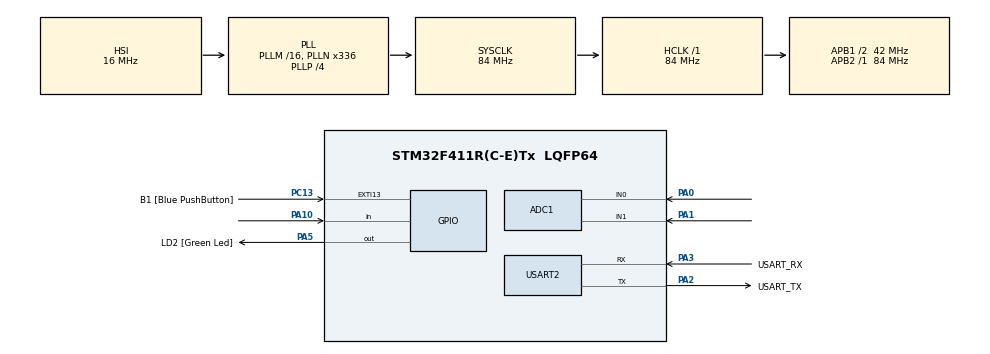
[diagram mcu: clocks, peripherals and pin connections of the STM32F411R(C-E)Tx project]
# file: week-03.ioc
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ADC1.Channel-0\#ChannelRegularConversion=ADC_CHANNEL_0
ADC1.NbrOfConversionFlag=1
ADC1.Rank-0\#ChannelRegularConversion=1
ADC1.SamplingTime-0\#ChannelRegularConversion=ADC_SAMPLETIME_3CYCLES
ADC1.master=1
Mcu.Family=STM32F4
Mcu.Name=STM32F411R(C-E)Tx
Mcu.Package=LQFP64
NVIC.PriorityGroup=NVIC_PRIORITYGROUP_0
PA0-WKUP.Signal=ADCx_IN0
PA1.Signal=ADCx_IN1
PA10.Signal=GPIO_Input
PA13.GPIO_Label=TMS
PA13.Mode=Serial_Wire
PA13.Signal=SYS_JTMS-SWDIO
PA14.GPIO_Label=TCK
PA14.Mode=Serial_Wire
PA14.Signal=SYS_JTCK-SWCLK
PA2.GPIO_Label=USART_TX
PA2.Mode=Asynchronous
PA2.Signal=USART2_TX
PA3.GPIO_Label=USART_RX
PA3.Mode=Asynchronous
PA3.Signal=USART2_RX
PA5.GPIO_Label=LD2 [Green Led]
PA5.Signal=GPIO_Output
PB3.GPIO_Label=SWO
PB3.Signal=SYS_JTDO-SWO
PC13-ANTI_TAMP.GPIO_Label=B1 [Blue PushButton]
PC13-ANTI_TAMP.GPIO_ModeDefaultEXTI=GPIO_MODE_IT_FALLING
PC13-ANTI_TAMP.Signal=GPXTI13
PC14-OSC32_IN.Mode=LSE-External-Oscillator
PC14-OSC32_IN.Signal=RCC_OSC32_IN
PC15-OSC32_OUT.Mode=LSE-External-Oscillator
PC15-OSC32_OUT.Signal=RCC_OSC32_OUT
PH0\ -\ OSC_IN.Mode=HSE-External-Clock-Source
PH0\ -\ OSC_IN.Signal=RCC_OSC_IN
PH1\ -\ OSC_OUT.Mode=HSE-External-Clock-Source
PH1\ -\ OSC_OUT.Signal=RCC_OSC_OUT
ProjectManager.HeapSize=0x200
ProjectManager.StackSize=0x400
ProjectManager.TargetToolchain=STM32CubeIDE
RCC.48MHZClocksFreq_Value=84000000
RCC.AHBFreq_Value=84000000
RCC.APB1CLKDivider=RCC_HCLK_DIV2
RCC.APB1Freq_Value=42000000
RCC.APB1TimFreq_Value=84000000
RCC.APB2Freq_Value=84000000
RCC.APB2TimFreq_Value=84000000
RCC.CortexFreq_Value=84000000
RCC.FLatency-AdvancedSettings=FLASH_LATENCY_2
RCC.HCLKFreq_Value=84000000
RCC.HSE_VALUE=8000000
RCC.HSI_VALUE=16000000
RCC.PLLN=336
RCC.PLLP=RCC_PLLP_DIV4
RCC.SYSCLKFreq_VALUE=84000000
RCC.SYSCLKSource=RCC_SYSCLKSOURCE_PLLCLK
RCC.VCOOutputFreq_Value=336000000
SH.ADCx_IN0.0=ADC1_IN0,IN0
SH.ADCx_IN1.0=ADC1_IN1,IN1
USART2.VirtualMode=VM_ASYNC
VP_ADC1_TempSens_Input.Mode=IN-TempSens
board=NUCLEO-F411RE

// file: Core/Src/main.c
/* USER CODE BEGIN Header */
/**
 ******************************************************************************
 * @file           : main.c
 * @brief          : Main program body
 ******************************************************************************
 * @attention
 *
 * <h2><center>&copy; Copyright (c) 2021 STMicroelectronics.
 * All rights reserved.</center></h2>
 *
 * This software component is licensed by ST under BSD 3-Clause license,
 * the "License"; You may not use this file except in compliance with the
 * License. You may obtain a copy of the License at:
 *                        opensource.org/licenses/BSD-3-Clause
 *
 ******************************************************************************
 */
/* USER CODE END Header */
#include "main.h"

ADC_HandleTypeDef hadc1;

UART_HandleTypeDef huart2;

/* USER CODE BEGIN PV */
uint16_t adcdata[2] = { 0 };
uint8_t ADCMode = 0;
uint32_t ADCOutputConverted = 0;
uint32_t TTimestamp = 0;
GPIO_PinState SWstate1[2];

typedef struct {
	ADC_ChannelConfTypeDef Config;
	uint16_t data;
} ADCStructure;

ADCStructure ADCChannel[2] = { 0 };

/* USER CODE END PV */

void SystemClock_Config(void);
static void MX_GPIO_Init(void);
static void MX_USART2_UART_Init(void);
static void MX_ADC1_Init(void);
/* USER CODE BEGIN PFP */
void ADCPollingMethodInit();
void ADCPollingMethodUpdate();
/* USER CODE END PFP */

int main(void) {

	/* MCU Configuration--------------------------------------------------------*/

	/* Reset of all peripherals, Initializes the Flash interface and the Systick. */
	HAL_Init();

	/* Configure the system clock */
	SystemClock_Config();

	/* Initialize all configured peripherals */
	MX_GPIO_Init();
	MX_USART2_UART_Init();
	MX_ADC1_Init();
	/* USER CODE BEGIN 2 */
	ADCPollingMethodInit();

	/* USER CODE END 2 */

	/* Infinite loop */
	/* USER CODE BEGIN WHILE */
	while (1) {
		if (HAL_GetTick() - TTimestamp >= 100) {
			TTimestamp = HAL_GetTick();
			SWstate1[0] = HAL_GPIO_ReadPin(GPIOA, GPIO_PIN_10);
			if (SWstate1[1] == GPIO_PIN_RESET && SWstate1[0] == GPIO_PIN_SET) {
					if(ADCMode == 0){
						ADCMode = 1;
					}
					else {
						ADCMode = 0;
					}
			}
			SWstate1[1] = SWstate1[0];
		}
		/* USER CODE END WHILE */

		/* USER CODE BEGIN 3 */

		ADCPollingMethodUpdate();
		if(ADCMode == 0){
			ADCOutputConverted = ADCChannel[ADCMode].data * 0.8;
		}
		else if(ADCMode == 1){
			ADCOutputConverted = ADCChannel[ADCMode].data * 0.8;
			ADCOutputConverted = (ADCOutputConverted - 760) / 2.5;
			ADCOutputConverted += 25;
		}

	}
	/* USER CODE END 3 */
}

void SystemClock_Config(void) {
	RCC_OscInitTypeDef RCC_OscInitStruct = { 0 };
	RCC_ClkInitTypeDef RCC_ClkInitStruct = { 0 };

	/** Configure the main internal regulator output voltage
	 */
	__HAL_RCC_PWR_CLK_ENABLE();
	__HAL_PWR_VOLTAGESCALING_CONFIG(PWR_REGULATOR_VOLTAGE_SCALE1);
	/** Initializes the RCC Oscillators according to the specified parameters
	 * in the RCC_OscInitTypeDef structure.
	 */
	RCC_OscInitStruct.OscillatorType = RCC_OSCILLATORTYPE_HSI;
	RCC_OscInitStruct.HSIState = RCC_HSI_ON;
	RCC_OscInitStruct.HSICalibrationValue = RCC_HSICALIBRATION_DEFAULT;
	RCC_OscInitStruct.PLL.PLLState = RCC_PLL_ON;
	RCC_OscInitStruct.PLL.PLLSource = RCC_PLLSOURCE_HSI;
	RCC_OscInitStruct.PLL.PLLM = 16;
	RCC_OscInitStruct.PLL.PLLN = 336;
	RCC_OscInitStruct.PLL.PLLP = RCC_PLLP_DIV4;
	RCC_OscInitStruct.PLL.PLLQ = 4;
	if (HAL_RCC_OscConfig(&RCC_OscInitStruct) != HAL_OK) {
		Error_Handler();
	}
	/** Initializes the CPU, AHB and APB buses clocks
	 */
	RCC_ClkInitStruct.ClockType = RCC_CLOCKTYPE_HCLK | RCC_CLOCKTYPE_SYSCLK
			| RCC_CLOCKTYPE_PCLK1 | RCC_CLOCKTYPE_PCLK2;
	RCC_ClkInitStruct.SYSCLKSource = RCC_SYSCLKSOURCE_PLLCLK;
	RCC_ClkInitStruct.AHBCLKDivider = RCC_SYSCLK_DIV1;
	RCC_ClkInitStruct.APB1CLKDivider = RCC_HCLK_DIV2;
	RCC_ClkInitStruct.APB2CLKDivider = RCC_HCLK_DIV1;

	if (HAL_RCC_ClockConfig(&RCC_ClkInitStruct, FLASH_LATENCY_2) != HAL_OK) {
		Error_Handler();
	}
}

static void MX_ADC1_Init(void) {

	ADC_ChannelConfTypeDef sConfig = { 0 };

	/** Configure the global features of the ADC (Clock, Resolution, Data Alignment and number of conversion)
	 */
	hadc1.Instance = ADC1;
	hadc1.Init.ClockPrescaler = ADC_CLOCK_SYNC_PCLK_DIV4;
	hadc1.Init.Resolution = ADC_RESOLUTION_12B;
	hadc1.Init.ScanConvMode = DISABLE;
	hadc1.Init.ContinuousConvMode = DISABLE;
	hadc1.Init.DiscontinuousConvMode = DISABLE;
	hadc1.Init.ExternalTrigConvEdge = ADC_EXTERNALTRIGCONVEDGE_NONE;
	hadc1.Init.ExternalTrigConv = ADC_SOFTWARE_START;
	hadc1.Init.DataAlign = ADC_DATAALIGN_RIGHT;
	hadc1.Init.NbrOfConversion = 1;
	hadc1.Init.DMAContinuousRequests = DISABLE;
	hadc1.Init.EOCSelection = ADC_EOC_SINGLE_CONV;
	if (HAL_ADC_Init(&hadc1) != HAL_OK) {
		Error_Handler();
	}
	/** Configure for the selected ADC regular channel its corresponding rank in the sequencer and its sample time.
	 */
	sConfig.Channel = ADC_CHANNEL_0;
	sConfig.Rank = 1;
	sConfig.SamplingTime = ADC_SAMPLETIME_3CYCLES;
	if (HAL_ADC_ConfigChannel(&hadc1, &sConfig) != HAL_OK) {
		Error_Handler();
	}

}

static void MX_USART2_UART_Init(void) {

	huart2.Instance = USART2;
	huart2.Init.BaudRate = 115200;
	huart2.Init.WordLength = UART_WORDLENGTH_8B;
	huart2.Init.StopBits = UART_STOPBITS_1;
	huart2.Init.Parity = UART_PARITY_NONE;
	huart2.Init.Mode = UART_MODE_TX_RX;
	huart2.Init.HwFlowCtl = UART_HWCONTROL_NONE;
	huart2.Init.OverSampling = UART_OVERSAMPLING_16;
	if (HAL_UART_Init(&huart2) != HAL_OK) {
		Error_Handler();
	}

}

static void MX_GPIO_Init(void) {
	GPIO_InitTypeDef GPIO_InitStruct = { 0 };

	/* GPIO Ports Clock Enable */
	__HAL_RCC_GPIOC_CLK_ENABLE();
	__HAL_RCC_GPIOH_CLK_ENABLE();
	__HAL_RCC_GPIOA_CLK_ENABLE();
	__HAL_RCC_GPIOB_CLK_ENABLE();

	/*Configure GPIO pin Output Level */
	HAL_GPIO_WritePin(LD2_GPIO_Port, LD2_Pin, GPIO_PIN_RESET);

	/*Configure GPIO pin : B1_Pin */
	GPIO_InitStruct.Pin = B1_Pin;
	GPIO_InitStruct.Mode = GPIO_MODE_IT_FALLING;
	GPIO_InitStruct.Pull = GPIO_NOPULL;
	HAL_GPIO_Init(B1_GPIO_Port, &GPIO_InitStruct);

	/*Configure GPIO pin : LD2_Pin */
	GPIO_InitStruct.Pin = LD2_Pin;
	GPIO_InitStruct.Mode = GPIO_MODE_OUTPUT_PP;
	GPIO_InitStruct.Pull = GPIO_NOPULL;
	GPIO_InitStruct.Speed = GPIO_SPEED_FREQ_LOW;
	HAL_GPIO_Init(LD2_GPIO_Port, &GPIO_InitStruct);

}

/* USER CODE BEGIN 4 */
void ADCPollingMethodInit() {
	//config all ADC Channel
	ADCChannel[0].Config.Channel = ADC_CHANNEL_0;
	ADCChannel[0].Config.Rank = 1;
	ADCChannel[0].Config.SamplingTime = ADC_SAMPLETIME_3CYCLES;

	ADCChannel[1].Config.Channel = ADC_CHANNEL_TEMPSENSOR;
	ADCChannel[1].Config.Rank = 1;
	ADCChannel[1].Config.SamplingTime = ADC_SAMPLETIME_3CYCLES;
}
//Polling Method
void ADCPollingMethodUpdate() {
	//Read all 3 Channel
	for (int i = 0; i < 2; i++) {
		HAL_ADC_ConfigChannel(&hadc1, &ADCChannel[i].Config);
		HAL_ADC_Start(&hadc1);
		HAL_ADC_PollForConversion(&hadc1, 10);
		ADCChannel[i].data = HAL_ADC_GetValue(&hadc1);
		HAL_ADC_Stop(&hadc1);
	}
}
/* USER CODE END 4 */

void Error_Handler(void) {
	__disable_irq();
	while (1) {
	}
}
